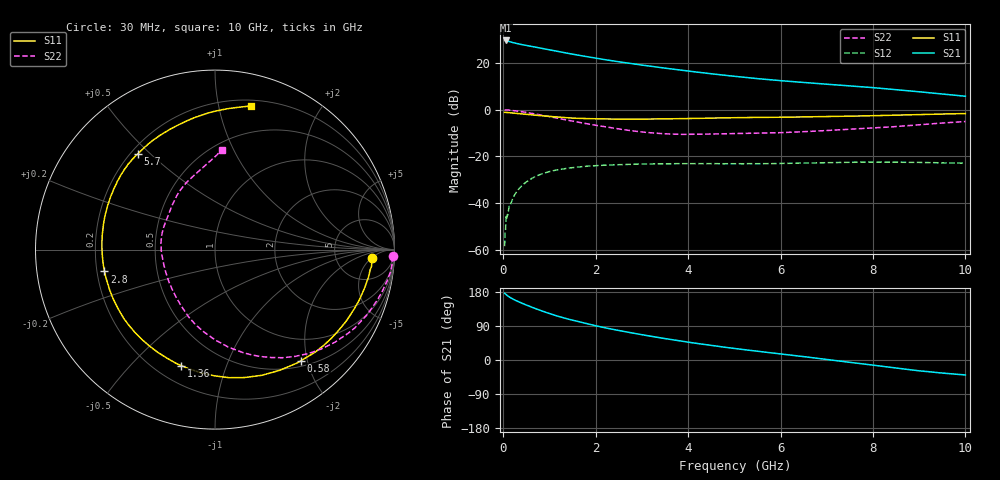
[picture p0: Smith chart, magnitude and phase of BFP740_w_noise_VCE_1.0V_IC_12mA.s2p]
! Infineon Technologies  Discrete & RF Semiconductors
! BFP740
! VCE =  1.0 V,  IC =  12 mA
! Common Emitter S-Parameters:  Jan 2016
# GHz  S  MA  R  50
!  f  S11  S21  S12  S22
! GHz  MAG  ANG  MAG  ANG  MAG  ANG  MAG  ANG
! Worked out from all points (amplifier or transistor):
!   229 points, 30 MHz to 10 GHz, reference 50 ohm
!   highest |S21| = 29.6 dB at 50 MHz (marker M1)
!   |S21| within 3 dB of that: start of sweep to 734.1 MHz
!   unconditionally stable (mu >= 1): 6.432 GHz to end of sweep
!   at 280 MHz: K = 0.16, MSG = 31.9 dB, |S12| = -35.4 dB
!   at 1.78 GHz: K = 0.37, MSG = 23.5 dB, |S12| = -24.3 dB
!   at 10 GHz: K = 1.14, MAG = 12.0 dB, |S12| = -22.9 dB
!   lowest NFmin = 0.54 dB at 450 MHz
!   S11 on the Smith chart (normalised r, x): 30 MHz: 13, -5; 580 MHz: 0.59, -1.89; 1.36 GHz: 0.30, -0.71; 2.8 GHz: 0.23, -0.09; 5.7 GHz: 0.23, +0.46; 10 GHz: 0.25, +1.25
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0.03  0.877 -3.2  30.25 176.3  0.0012 83.3  0.9911 -2.1
0.05  0.8761 -5.1  30.31 174.2  0.0026 103.8  0.988 -3.6
0.06  0.8769 -6.2  30.14 172.9  0.0051 91.2  0.992 -4.4
0.09  0.8691 -9.3  29.6 169.9  0.0057 84.7  0.9866 -6.6
0.13  0.8621 -13.2  28.81 166.4  0.0086 85.0  0.9775 -9.5
0.24  0.8422 -23.4  26.83 158.9  0.0147 76.1  0.9494 -16.7
0.4  0.815 -37.4  24.76 150.0  0.0234 69.2  0.9046 -26.4
0.58  0.783 -52.2  22.88 141.2  0.0321 61.5  0.8497 -36.6
0.7  0.7631 -61.8  21.78 135.5  0.0375 57.0  0.8108 -43.1
0.9  0.732 -76.8  20.04 126.6  0.0443 49.4  0.7434 -53.2
1.16  0.6943 -94.2  17.84 116.4  0.0513 41.3  0.6592 -65.1
1.36  0.6733 -106.1  16.34 109.5  0.0552 36.0  0.6043 -73.3
1.7  0.6495 -124.3  14.24 98.8  0.0603 28.8  0.5223 -86.2
2.18  0.6339 -145.9  11.86 85.6  0.0648 20.6  0.4347 -103.8
2.8  0.6276 -168.8  9.605 71.1  0.0678 12.4  0.3518 -125.5
3.4  0.6334 172.6  7.986 58.5  0.0694 6.4  0.309 -148.1
4.3  0.6542 150.8  6.191 41.8  0.0699 -1.1  0.2994 -178.8
5.1  0.6756 136.9  5.059 29.0  0.0698 -5.5  0.3094 161.9
5.7  0.6845 129.1  4.433 20.3  0.0699 -7.9  0.316 150.0
6.8  0.7065 115.7  3.629 4.5  0.0731 -13.0  0.3493 131.5
8.4  0.7611 93.1  2.741 -19.8  0.0753 -23.2  0.4289 106.0
10  0.8257 75.8  1.94 -39.5  0.0715 -30.7  0.5584 86.1
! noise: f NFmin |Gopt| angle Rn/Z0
0.45  0.54  0.16  4  0.16
0.9  0.55  0.16  11  0.16
1.5  0.57  0.15  22  0.15
1.9  0.6  0.15  39  0.15
2.4  0.63  0.15  46  0.14
3.5  0.73  0.13  57  0.13
5.5  0.9  0.16  211  0.12
10  1.33  0.5  -72  0.16
